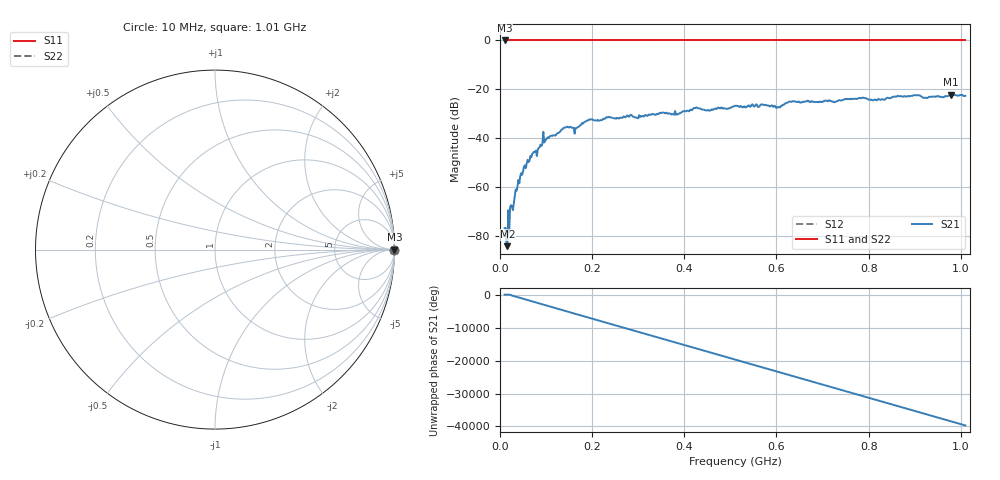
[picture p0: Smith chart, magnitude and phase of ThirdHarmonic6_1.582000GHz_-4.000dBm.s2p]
! 8/16/2025 6:49:39 PM
! C:\ANRITSUVNA\TEMP\TEMP.S2P
! CHANNEL.1
! TR.MEASUREMENT
! RAW.DATA
! RF.CORRECTION.OFF
! AVERAGING.OFF
! IF.BANDWIDTH: 5KHZ
! SWEEPTYPE:  FREQ.SWEEP(Linear)
! Reference Plane Port Info
! PORT:  PORT1  PORT2
! DISTANCE:  0  m  0  m
! TIME:  0  s  0  s
! PHASE.OFFSET:  0  deg.  0  deg.
! LOSS:  0  dB  0  dB
! REF.LOSS:  0  dB  0  dB
! REF.FREQ:  0  Hz  0  Hz
! Power Info
! POWER:  -20  dBm  -20  dBm
! EFF.POWER:  -20  dBm  -20  dBm
! SOURCE.ATTEN:  0  dB  0  dB
! TEST.ATTEN:  0  dB  0  dB
# GHZ S RI R 50.0
! FREQ.GHZ  S11RE  S11IM  S21RE  S21IM  S12RE  S12IM  S22RE  S22IM
!; PortSelection: Port_12
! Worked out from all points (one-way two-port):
!   501 points, 10 MHz to 1.01 GHz, reference 50 ohm
!   highest |S21| = -22.19 dB at 978 MHz (marker M1); lowest = -84.1 dB at 16 MHz (marker M2)
!   lowest |S11| = 0.0 dB at 10 MHz (marker M3)
!   |S11| at or under -10 dB: nowhere
!   |S22| runs from 0.0 to 0.0 dB; largest |S21 - S12| = 1.1
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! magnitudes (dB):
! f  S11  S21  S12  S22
! 10 MHz  0.0  -76.7  0.0  0.0
! 16 MHz  0.0  -84.1  0.0  0.0
! 22 MHz  0.0  -68.0  0.0  0.0
! 24 MHz  0.0  -67.3  0.0  0.0
! 42 MHz  0.0  -58.3  0.0  0.0
! 70 MHz  0.0  -46.4  0.0  0.0
! 82 MHz  0.0  -44.6  0.0  0.0
! 98 MHz  0.0  -41.1  0.0  0.0
! 142 MHz  0.0  -35.6  0.0  0.0
! 166 MHz  0.0  -35.8  0.0  0.0
! 178 MHz  0.0  -33.8  0.0  0.0
! 196 MHz  0.0  -32.3  0.0  0.0
! 344 MHz  0.0  -30.1  0.0  0.0
! 386 MHz  0.0  -30.1  0.0  0.0
! 424 MHz  0.0  -27.6  0.0  0.0
! 510 MHz  0.0  -26.7  0.0  0.0
! 604 MHz  0.0  -27.1  0.0  0.0
! 632 MHz  0.0  -25.1  0.0  0.0
! 678 MHz  0.0  -25.1  0.0  0.0
! 844 MHz  0.0  -23.6  0.0  0.0
! 978 MHz  0.0  -22.2  0.0  0.0
! 1.01 GHz  0.0  -22.6  0.0  0.0
